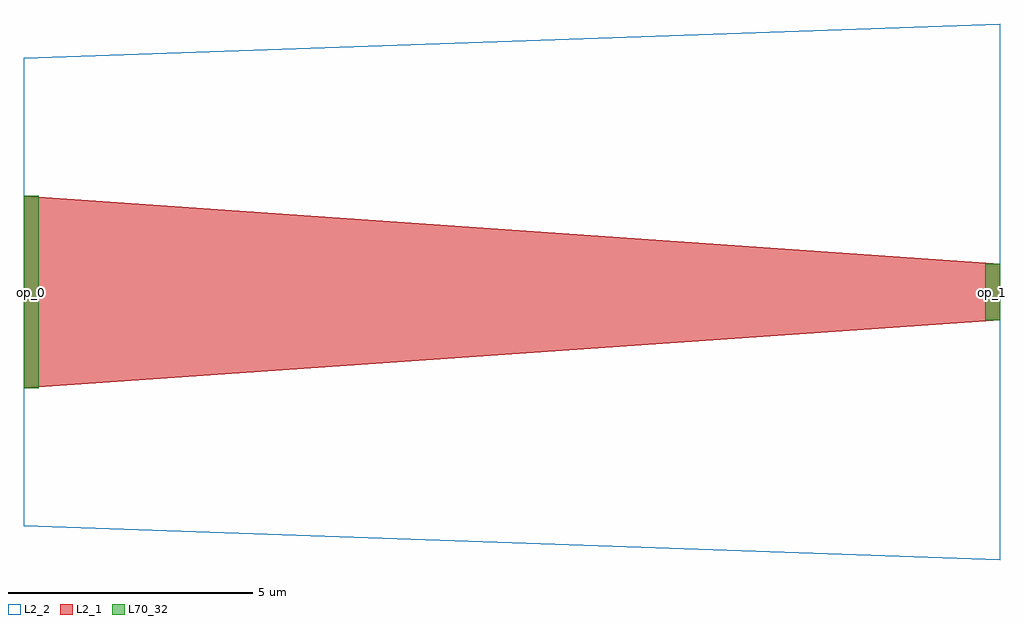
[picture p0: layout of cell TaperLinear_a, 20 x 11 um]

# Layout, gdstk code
import gdstk
lib = gdstk.Library(unit=1e-6, precision=1e-09)
def R(c, l, rs):  # rectangles x0, y0, x1, y1
    for r in rs: c.add(gdstk.rectangle(r[:2], r[2:], *l))
def P(c, l, *ps):  # polygons
    for p in ps: c.add(gdstk.Polygon(p, *l))
L2_1 = (2, 1)
L2_2 = (2, 2)
L70_32 = (70, 32)

c_wg = lib.new_cell('wg')
P(c_wg, L2_1, [(-10,1.975),(10,0.575),(10,-0.575),(-10,-1.975)])
P(c_wg, L2_2, [(-10,4.8),(10,5.5),(10,0.575),(10,-0.575),(10,-5.5),(-10,-4.8),(-10,-1.975),(-10,1.975)])
R(c_wg, L70_32, [(-10,-1.975,-9.7,1.975), (9.7,-0.575,10,0.575)])
c_wg.add(gdstk.Label('op_0', (-9.85,0), layer=70, texttype=41))
c_wg.add(gdstk.Label('op_1', (9.85,0), layer=70, texttype=41))

taperlinear_a = lib.new_cell('TaperLinear_a')
R(taperlinear_a, L70_32, [(-10,-1.975,-9.7,1.975), (9.7,-0.575,10,0.575)])
taperlinear_a.add(gdstk.Reference(c_wg, (0,0)))
taperlinear_a.add(gdstk.Label('op_0', (-9.85,0), layer=70, texttype=41))
taperlinear_a.add(gdstk.Label('op_1', (9.85,0), layer=70, texttype=41))

lib.write_gds('TaperLinear_a.gds')
